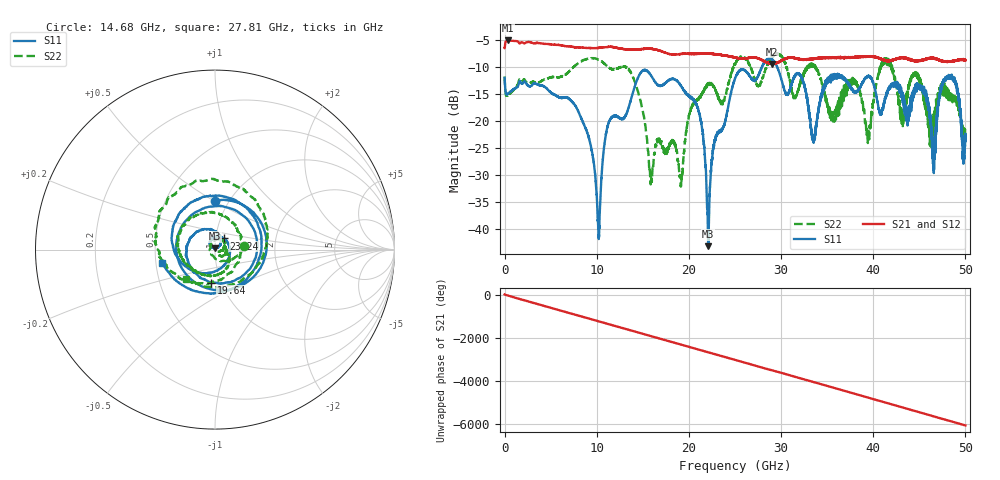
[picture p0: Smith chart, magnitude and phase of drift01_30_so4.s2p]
!Created with skrf (http://scikit-rf.org).
# Hz S RI R 50.0
!freq ReS11 ImS11 ReS21 ImS21 ReS12 ImS12 ReS22 ImS22
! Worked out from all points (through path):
!   10001 points, 300 kHz to 50 GHz, reference 50 ohm
!   highest |S21| = -5.05 dB at 345.3 MHz (marker M1); lowest = -9.4 dB at 28.98 GHz (marker M2)
!   group delay of S21, straight-line fit = 336 ps
!   lowest |S11| = -43.2 dB at 22.09 GHz (marker M3), VSWR 1.01, Z = 49.9 + j0.677 ohm
!   |S11| at or under -10 dB: start of sweep to 27.92 GHz; 29.59 GHz to end of sweep
!   |S22| runs from -32.1 to -7.5 dB; largest |S21 - S12| = 0.011
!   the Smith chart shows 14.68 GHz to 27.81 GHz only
!   S11 on the Smith chart (normalised r, x): 14.68 GHz: 0.86, +0.51; 19.64 GHz: 0.90, -0.34; 23.24 GHz: 1.10, +0.14; 27.81 GHz: 0.54, -0.09
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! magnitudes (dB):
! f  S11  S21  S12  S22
! 300 kHz  -12.0  -6.5  -6.5  -11.7
! 345.3 MHz  -14.9  -5.1  -5.1  -15.3
! 8.335 GHz  -19.6  -6.4  -6.4  -8.9
! 10.2 GHz  -41.0  -6.4  -6.4  -8.6
! 11.24 GHz  -20.6  -6.3  -6.2  -9.9
! 14.68 GHz  -11.3  -6.7  -6.6  -15.8
! 15.88 GHz  -11.5  -6.6  -6.6  -31.1
! 16.67 GHz  -13.4  -6.9  -6.9  -23.2
! 19.64 GHz  -14.7  -7.5  -7.5  -22.8
! 21.24 GHz  -19.5  -7.5  -7.5  -15.5
! 22.09 GHz  -43.2  -7.5  -7.5  -13.3
! 23.24 GHz  -22.0  -7.7  -7.7  -15.8
! 25 GHz  -12.1  -8.2  -8.3  -9.4
! 27.81 GHz  -10.4  -8.6  -8.6  -12.8
! 28.98 GHz  -8.5  -9.4  -9.4  -8.2
! 33.34 GHz  -22.5  -8.5  -8.5  -9.6
! 39.47 GHz  -11.7  -8.0  -8.0  -22.2
! 41.67 GHz  -14.0  -8.8  -8.8  -9.0
! 45.36 GHz  -13.7  -8.7  -8.7  -14.5
! 46.56 GHz  -24.9  -8.3  -8.3  -20.6
! 48.53 GHz  -12.0  -8.9  -8.9  -15.4
! 50 GHz  -22.5  -8.7  -8.7  -23.0
